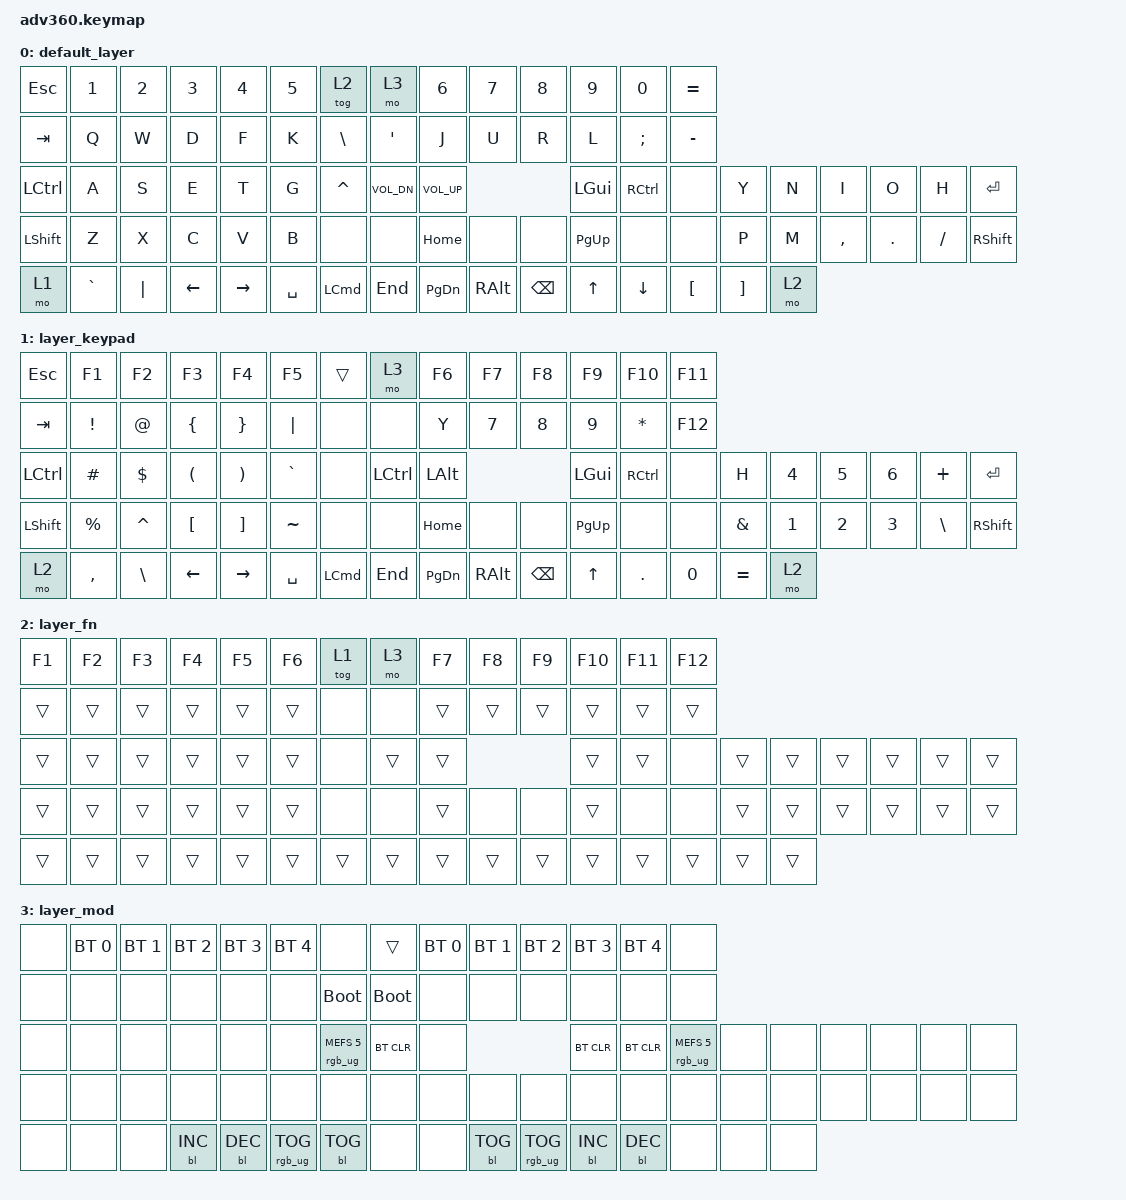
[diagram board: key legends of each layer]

/*
 * Copyright (c) 2020 The ZMK Contributors
 *
 * SPDX-License-Identifier: MIT
 */


/* THIS FILE WAS GENERATED!
 *
 * This file was generated automatically. You may or may not want to
 * edit it directly.
 */

#include <behaviors.dtsi>
#include <dt-bindings/zmk/keys.h>
#include <dt-bindings/zmk/bt.h>
#include <dt-bindings/zmk/rgb.h>
#include <dt-bindings/zmk/backlight.h>

/ {
  behaviors {
    #include "macros.dtsi"

    hm: homerow_mods {
        compatible = "zmk,behavior-hold-tap";
        label = "HOMEROW_MODS";
        #binding-cells = <2>;
        tapping-term-ms = <200>;
        quick_tap_ms = <175>;
        flavor = "tap-preferred";
        bindings = <&kp>, <&kp>;
    };
  };

    keymap {
        compatible = "zmk,keymap";


        default_layer {
            bindings = <
   &kp ESC     &kp N1    &kp N2    &kp N3     &kp N4     &kp N5                      &tog 2             &mo 3        &kp N6         &kp N7         &kp N8     &kp N9     &kp N0  &kp EQUAL
   &kp TAB      &kp Q     &kp W     &kp D      &kp F      &kp K               &kp BACKSLASH  &kp SINGLE_QUOTE         &kp J          &kp U          &kp R      &kp L   &kp SEMI  &kp MINUS
 &kp LCTRL      &kp A     &kp S     &kp E      &kp T      &kp G                   &kp CARET      &kp C_VOL_DN  &kp C_VOL_UP                                 &kp LGUI  &kp RCTRL      &none     &kp Y   &kp N      &kp I    &kp O     &kp H  &kp ENTER
 &kp LSHFT      &kp Z     &kp X     &kp C      &kp V      &kp B                       &none             &none      &kp HOME          &none          &none  &kp PG_UP      &none      &none     &kp P   &kp M  &kp COMMA  &kp DOT  &kp FSLH  &kp RSHFT
     &mo 1  &kp GRAVE  &kp PIPE  &kp LEFT  &kp RIGHT  &kp SPACE            &kp LEFT_COMMAND           &kp END     &kp PG_DN  &kp RIGHT_ALT  &kp BACKSPACE     &kp UP   &kp DOWN   &kp LBKT  &kp RBKT   &mo 2
            >;
        };

        layer_keypad {
            bindings = <
          &kp ESC       &kp F1         &kp F2                &kp F3                 &kp F4     &kp F5                      &trans      &mo 3     &kp F6         &kp F7         &kp F8        &kp F9    &kp F10       &kp F11
          &kp TAB     &kp EXCL    &kp AT_SIGN        &kp LEFT_BRACE        &kp RIGHT_BRACE   &kp PIPE                       &none      &none      &kp Y   &kp NUMBER_7   &kp NUMBER_8  &kp NUMBER_9   &kp STAR       &kp F12
 &kp LEFT_CONTROL     &kp HASH     &kp DOLLAR  &kp LEFT_PARENTHESIS  &kp RIGHT_PARENTHESIS  &kp GRAVE                       &none  &kp LCTRL   &kp LALT                                    &kp LGUI  &kp RCTRL         &none          &kp H  &kp NUMBER_4  &kp NUMBER_5  &kp NUMBER_6       &kp PLUS  &kp ENTER
        &kp LSHFT  &kp PERCENT      &kp CARET      &kp LEFT_BRACKET      &kp RIGHT_BRACKET  &kp TILDE                       &none      &none   &kp HOME          &none          &none     &kp PG_UP      &none         &none  &kp AMPERSAND  &kp NUMBER_1  &kp NUMBER_2  &kp NUMBER_3  &kp BACKSLASH  &kp RSHFT
            &mo 2    &kp COMMA  &kp BACKSLASH              &kp LEFT              &kp RIGHT  &kp SPACE            &kp LEFT_COMMAND    &kp END  &kp PG_DN  &kp RIGHT_ALT  &kp BACKSPACE        &kp UP    &kp DOT  &kp NUMBER_0      &kp EQUAL         &mo 2
            >;
        };

        layer_fn {
            bindings = <
 &kp F1  &kp F2  &kp F3  &kp F4  &kp F5  &kp F6            &tog 1   &mo 3  &kp F7  &kp F8  &kp F9  &kp F10  &kp F11  &kp F12
 &trans  &trans  &trans  &trans  &trans  &trans             &none   &none  &trans  &trans  &trans   &trans   &trans   &trans
 &trans  &trans  &trans  &trans  &trans  &trans             &none  &trans  &trans                   &trans   &trans    &none  &trans  &trans  &trans  &trans  &trans  &trans
 &trans  &trans  &trans  &trans  &trans  &trans             &none   &none  &trans   &none   &none   &trans    &none    &none  &trans  &trans  &trans  &trans  &trans  &trans
 &trans  &trans  &trans  &trans  &trans  &trans            &trans  &trans  &trans  &trans  &trans   &trans   &trans   &trans  &trans  &trans
            >;
        };

        layer_mod {
            bindings = <
  &none  &bt BT_SEL 0  &bt BT_SEL 1  &bt BT_SEL 2  &bt BT_SEL 3     &bt BT_SEL 4                             &none       &trans  &bt BT_SEL 0  &bt BT_SEL 1     &bt BT_SEL 2  &bt BT_SEL 3  &bt BT_SEL 4                   &none
  &none         &none         &none         &none         &none            &none                       &bootloader  &bootloader         &none         &none            &none         &none         &none                   &none
  &none         &none         &none         &none         &none            &none            &rgb_ug RGB_MEFS_CMD 5   &bt BT_CLR         &none                                   &bt BT_CLR    &bt BT_CLR  &rgb_ug RGB_MEFS_CMD 5   &none   &none   &none   &none   &none   &none
  &none         &none         &none         &none         &none            &none                             &none        &none         &none         &none            &none         &none         &none                   &none   &none   &none   &none   &none   &none   &none
  &none         &none         &none    &bl BL_INC    &bl BL_DEC  &rgb_ug RGB_TOG                        &bl BL_TOG        &none         &none    &bl BL_TOG  &rgb_ug RGB_TOG    &bl BL_INC    &bl BL_DEC                   &none   &none   &none
            >;
        };

    };
};
